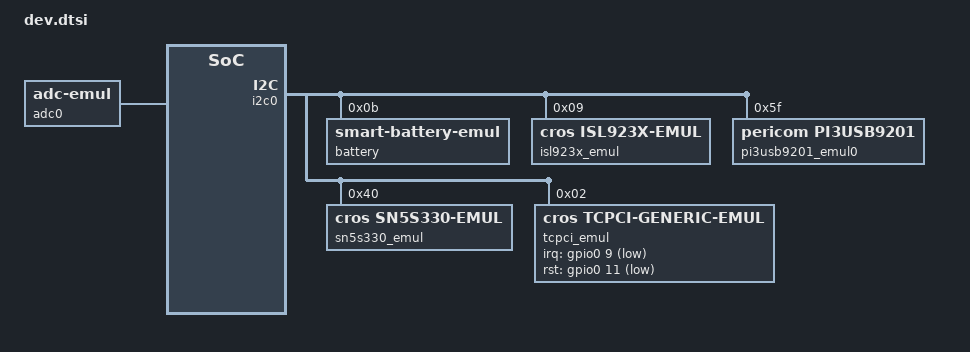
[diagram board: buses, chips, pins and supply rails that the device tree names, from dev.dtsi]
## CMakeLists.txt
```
# Copyright 2023 The ChromiumOS Authors
# Use of this source code is governed by a BSD-style license that can be
# found in the LICENSE file.

cmake_minimum_required(VERSION 3.20.5)
find_package(Zephyr REQUIRED HINTS "${ZEPHYR_BASE}")
project(ec)

target_sources(app PRIVATE src/stubs.c)

zephyr_include_directories("${CMAKE_CURRENT_SOURCE_DIR}/include")
```

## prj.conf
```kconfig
# Copyright 2023 The ChromiumOS Authors
# Use of this source code is governed by a BSD-style license that can be
# found in the LICENSE file.

CONFIG_PLATFORM_EC=y
CONFIG_CROS_EC=y
CONFIG_SHIMMED_TASKS=y
CONFIG_SYSCON=y
CONFIG_EMUL=y

# Disable default features we don't want in a minimal example.
CONFIG_NAMED_ADC_CHANNELS=n
CONFIG_PWM=n
CONFIG_PLATFORM_EC_BACKLIGHT_LID=n
CONFIG_PLATFORM_EC_KEYBOARD=n
CONFIG_PLATFORM_EC_POWER_BUTTON=n
CONFIG_PLATFORM_EC_SWITCH=n
CONFIG_PLATFORM_EC_VBOOT_EFS2=n
CONFIG_PLATFORM_EC_VBOOT_HASH=n

CONFIG_PLATFORM_EC=y
CONFIG_PLATFORM_EC_HOOKS=y
CONFIG_PLATFORM_EC_HOSTCMD=y
CONFIG_PLATFORM_EC_CHARGER=y
CONFIG_PLATFORM_EC_BATTERY_FUEL_GAUGE=y

CONFIG_PLATFORM_EC_EXTPOWER_GPIO=y

CONFIG_PLATFORM_EC_CHARGER_SENSE_RESISTOR=10
CONFIG_PLATFORM_EC_CHARGER_SENSE_RESISTOR_AC=10
CONFIG_PLATFORM_EC_CHARGER_ISL9238=y
CONFIG_PLATFORM_EC_USB_PD_VBUS_MEASURE_CHARGER=y
CONFIG_PLATFORM_EC_USB_PD_DISCHARGE_PPC=y

CONFIG_PLATFORM_EC_USB_PD_TCPM_MUX=y

CONFIG_UART_NATIVE_PTY_0_ON_STDINOUT=y

CONFIG_SENSOR=y
CONFIG_I2C=y
CONFIG_BMI160_TRIGGER_NONE=y
CONFIG_EMUL_BC12_DETECT_PI3USB9201=y

# Emulators have all the same priority so this can't be used.
CONFIG_CHECK_INIT_PRIORITIES=n
```

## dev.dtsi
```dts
/* Copyright 2023 The ChromiumOS Authors
 * Use of this source code is governed by a BSD-style license that can be
 * found in the LICENSE file.
 */

#include <board-overlays/native_sim.dts>

/ {
	named-adc-channels {
		compatible = "named-adc-channels";

		adc_charger: charger {
			enum-name = "ADC_TEMP_SENSOR_CHARGER";
			io-channels = <&adc0 0>;
		};
	};

	named-gpios {
		ec_batt_pres_odl {
			gpios = <&gpio0 28 GPIO_INPUT>;
			enum-name = "GPIO_BATT_PRES_ODL";
		};
		gpio_usb_c0_bc12_int_l: usb_c0_bc12_int_l {
			gpios = <&gpio0 10 GPIO_INPUT>;
		};
		gpio_usb_c0_ppc_int: usb_c0_ppc_int {
			gpios = <&gpio0 14 (GPIO_INPUT | GPIO_ACTIVE_LOW)>;
		};
		gpio_acok_od: acok_od {
			gpios = <&gpio0 0 GPIO_INPUT>;
			enum-name = "GPIO_AC_PRESENT";
		};
	};

	named-i2c-ports {
		compatible = "named-i2c-ports";
		accel-0 {
			i2c-port = <&i2c0>;
			enum-names = "I2C_PORT_ACCEL",  "I2C_PORT_BATTERY";
		};

	};

	adc0: adc {
		compatible = "zephyr,adc-emul";
		nchannels = <6>;
		ref-internal-mv = <3300>;
		#io-channel-cells = <1>;
		status = "okay";
	};

	batteries {
		default_battery: lgc_ac17a8m {
			compatible = "lgc,ac17a8m", "battery-smart";
			/**
			 * this has to be strictly lower than the desired
			 * voltage in smart battery emulator (5000mV).
			 */
			voltage_min = <4000>;
		};
	};

	gpio-interrupts {
		compatible = "cros-ec,gpio-interrupts";

		int_usb_c0_bc12: usb_c0_bc12 {
			irq-pin = <&gpio_usb_c0_bc12_int_l>;
			flags = <GPIO_INT_EDGE_FALLING>;
			handler = "usb0_evt";
		};
		int_ac_present: ac_present {
			irq-pin = <&gpio_acok_od>;
			flags = <GPIO_INT_EDGE_BOTH>;
			handler = "extpower_interrupt";
		};
	};

	usbc {
		#address-cells = <1>;
		#size-cells = <0>;

		port0@0 {
			compatible = "named-usbc-port";
			reg = <0>;
			bc12 = <&pi3usb9201_emul0>;
			chg = <&isl923x_emul>;
			tcpc = <&tcpci_emul>;
			ppc = <&sn5s330_emul>;
			usb-mux-chain-0 {
				compatible = "cros-ec,usb-mux-chain";
				usb-muxes = <&tcpci_mux_c0
					     &virtual_mux_c0>;
			};
		};
		port0-muxes {
			tcpci_mux_c0: tcpci-mux-c0 {
				compatible = "cros-ec,usbc-mux-tcpci";
			};
			virtual_mux_c0: virtual-mux-c0 {
				compatible = "cros-ec,usbc-mux-virtual";
			};
		};
	};
};

&i2c0 {
	battery: sb@b {
		compatible = "zephyr,smart-battery-emul";
		reg = <0xb>;
		cycle-count = <99>;
		version = "BATTERY_SPEC_VER_1_1_WITH_PEC";
		/* Real battery voltages are multiples of 4.4V. */
		desired-charg-volt = <5000>;
		desired-charg-cur = <1000>;
		mf-name = "LGC";
		dev-name = "AC17A8M";
	};

	isl923x_emul: isl923x@9 {
		compatible = "cros,isl923x-emul";
		status = "okay";
		reg = <0x9>;
		battery = <&battery>;
	};

	pi3usb9201_emul0: pi3usb9201@5f {
		compatible = "pericom,pi3usb9201";
		reg = <0x5f>;
		irq = <&int_usb_c0_bc12>;
	};

	sn5s330_emul: sn5s330@40 {
		compatible = "cros,sn5s330-emul";
		reg = <0x40>;
		int-pin = <&gpio_usb_c0_ppc_int>;
	};

	tcpci_emul: tcpci_emul@2 {
		compatible = "cros,tcpci-generic-emul";
		status = "okay";
		reg = <0x2>;
		irq-gpios = <&gpio0 9 GPIO_ACTIVE_LOW>;
		rst-gpios = <&gpio0 11 GPIO_ACTIVE_LOW>;
	};
};
```

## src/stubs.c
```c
/* Copyright 2023 The ChromiumOS Authors
 * Use of this source code is governed by a BSD-style license that can be
 * found in the LICENSE file.
 *
 * Fakes for dev-posix which will be updated as work progresses
 */

#include "usb_pd.h"

int board_set_active_charge_port(int port)
{
	return 0;
}

int pd_check_vconn_swap(int port)
{
	return 0;
}

void pd_power_supply_reset(int port)
{
}

int pd_set_power_supply_ready(int port)
{
	return 0;
}
```
